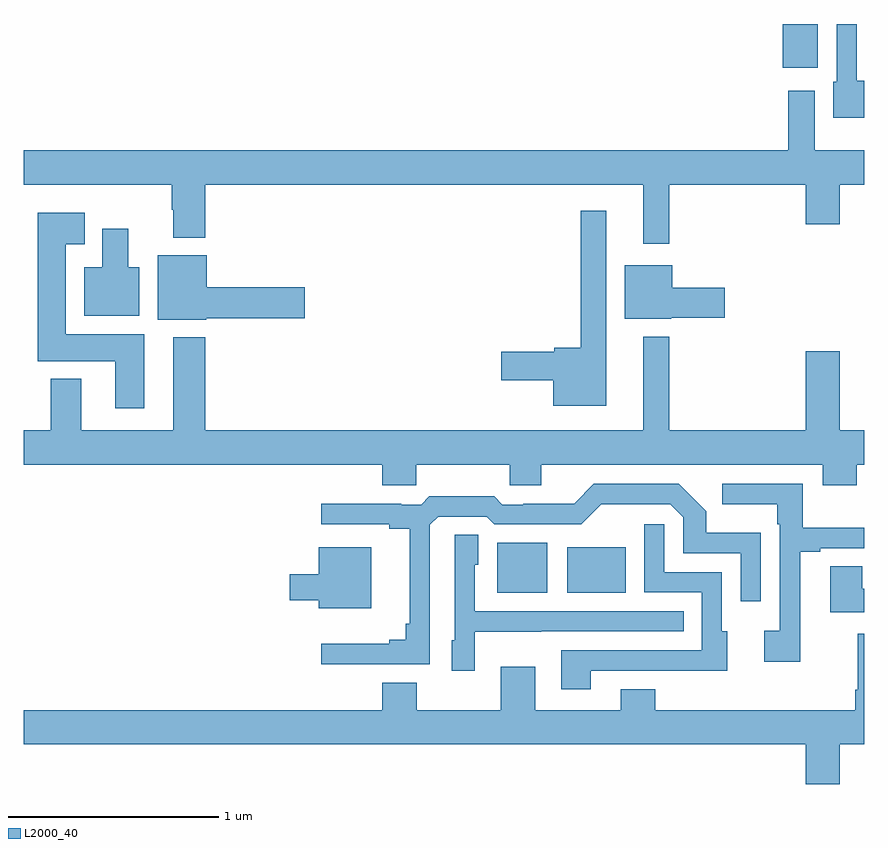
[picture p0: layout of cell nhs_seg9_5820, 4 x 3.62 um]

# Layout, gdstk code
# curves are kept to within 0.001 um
import gdstk
lib = gdstk.Library(unit=1e-6, precision=1e-09)
def R(c, l, rs):  # rectangles x0, y0, x1, y1
    for r in rs: c.add(gdstk.rectangle(r[:2], r[2:], *l))
def P(c, l, *ps):  # polygons
    for p in ps: c.add(gdstk.Polygon(p, *l))
L2000_40 = (2000, 40)

nhs_seg9_5820 = lib.new_cell('nhs_seg9_5820')
R(nhs_seg9_5820, L2000_40, [(451.253,1211.795,451.492,1212.031), (451.586,1211.795,451.864,1212.01), (452.612,1214.291,452.779,1214.5)])
P(nhs_seg9_5820, L2000_40, [(453,1214.23),(452.964,1214.23),(452.964,1214.5),(452.868,1214.5),(452.868,1214.226),(452.852,1214.226),(452.852,1214.054),(453,1214.054)],
  [(452.071,1213.736),(452.72,1213.736),(452.72,1213.548),(452.884,1213.548),(452.884,1213.736),(453,1213.736),(453,1213.9),(452.764,1213.9),(452.764,1214.182),(452.639,1214.182),(452.639,1213.9),(449,1213.9),(449,1213.736),(449.704,1213.736),(449.704,1213.616),(449.711,1213.616),(449.711,1213.484),(449.864,1213.484),(449.864,1213.736),(451.949,1213.736),(451.949,1213.455),(452.071,1213.455)],
  [(451.771,1213.612),(451.65,1213.612),(451.65,1212.959),(451.524,1212.959),(451.524,1212.941),(451.272,1212.941),(451.272,1212.806),(451.52,1212.806),(451.52,1212.683),(451.771,1212.683)],
  [(449.575,1213.024),(449.2,1213.024),(449.2,1213.451),(449.29,1213.451),(449.29,1213.603),(449.066,1213.603),(449.066,1212.896),(449.435,1212.896),(449.435,1212.672),(449.575,1212.672)],
  [(449.551,1213.342),(449.497,1213.342),(449.497,1213.525),(449.375,1213.525),(449.375,1213.342),(449.288,1213.342),(449.288,1213.112),(449.551,1213.112)],
  [(449.868,1213.1),(450.337,1213.1),(450.337,1213.247),(449.872,1213.247),(449.872,1213.399),(449.639,1213.399),(449.639,1213.094),(449.868,1213.094)],
  [(452.082,1213.103),(452.335,1213.103),(452.335,1213.245),(452.086,1213.245),(452.086,1213.351),(451.859,1213.351),(451.859,1213.097),(452.082,1213.097)],
  [(452.965,1212.404),(453,1212.404),(453,1212.568),(452.884,1212.568),(452.884,1212.943),(452.72,1212.943),(452.72,1212.568),(452.071,1212.568),(452.071,1213.012),(451.949,1213.012),(451.949,1212.568),(449.864,1212.568),(449.864,1213.009),(449.711,1213.009),(449.711,1212.568),(449.275,1212.568),(449.275,1212.811),(449.128,1212.811),(449.128,1212.568),(449,1212.568),(449,1212.404),(450.707,1212.404),(450.707,1212.306),(450.867,1212.306),(450.867,1212.404),(451.312,1212.404),(451.312,1212.306),(451.462,1212.306),(451.462,1212.404),(452.801,1212.404),(452.801,1212.305),(452.965,1212.305)],
  [(452.695,1211.988),(452.791,1211.988),(452.791,1212.006),(453,1212.006),(453,1212.104),(452.707,1212.104),(452.707,1212.312),(452.325,1212.312),(452.325,1212.215),(452.586,1212.215),(452.586,1212.119),(452.598,1212.119),(452.598,1211.614),(452.523,1211.614),(452.523,1211.466),(452.695,1211.466)],
  [(450.933,1212.117),(450.972,1212.156),(451.203,1212.156),(451.239,1212.12),(451.653,1212.12),(451.748,1212.215),(452.076,1212.216),(452.139,1212.153),(452.139,1211.982),(452.412,1211.982),(452.412,1211.754),(452.508,1211.754),(452.508,1212.079),(452.247,1212.079),(452.247,1212.182),(452.116,1212.312),(451.713,1212.312),(451.619,1212.218),(451.378,1212.218),(451.378,1212.213),(451.278,1212.213),(451.239,1212.253),(450.931,1212.253),(450.891,1212.213),(450.797,1212.213),(450.797,1212.218),(450.417,1212.218),(450.417,1212.12),(450.74,1212.12),(450.74,1212.098),(450.836,1212.098),(450.836,1211.647),(450.817,1211.647),(450.817,1211.57),(450.74,1211.57),(450.74,1211.551),(450.417,1211.551),(450.417,1211.454),(450.933,1211.454)],
  [(451.699,1211.424),(452.129,1211.424),(452.129,1211.423),(452.347,1211.423),(452.347,1211.61),(452.322,1211.61),(452.322,1211.892),(452.049,1211.892),(452.049,1212.121),(451.953,1212.121),(451.953,1211.796),(452.226,1211.796),(452.226,1211.52),(451.559,1211.52),(451.559,1211.334),(451.699,1211.334)],
  [(451.146,1211.609),(451.463,1211.609),(451.463,1211.61),(452.141,1211.61),(452.141,1211.706),(451.146,1211.706),(451.146,1211.928),(451.162,1211.928),(451.162,1212.071),(451.05,1212.071),(451.05,1211.568),(451.037,1211.568),(451.037,1211.424),(451.146,1211.424)],
  [(450.655,1212.01),(450.404,1212.01),(450.404,1211.881),(450.267,1211.881),(450.267,1211.759),(450.404,1211.759),(450.404,1211.72),(450.655,1211.72)],
  [(453,1211.812),(452.989,1211.812),(452.989,1211.921),(452.837,1211.921),(452.837,1211.702),(453,1211.702)],
  [(452.884,1211.072),(453,1211.072),(453,1211.599),(452.969,1211.599),(452.969,1211.332),(452.957,1211.332),(452.957,1211.236),(452.005,1211.236),(452.005,1211.335),(451.841,1211.335),(451.841,1211.236),(451.435,1211.236),(451.435,1211.443),(451.271,1211.443),(451.271,1211.236),(450.871,1211.236),(450.871,1211.365),(450.707,1211.365),(450.707,1211.236),(449,1211.236),(449,1211.072),(452.72,1211.072),(452.72,1210.884),(452.884,1210.884)])

lib.write_gds('nhs_seg9_5820.gds')
